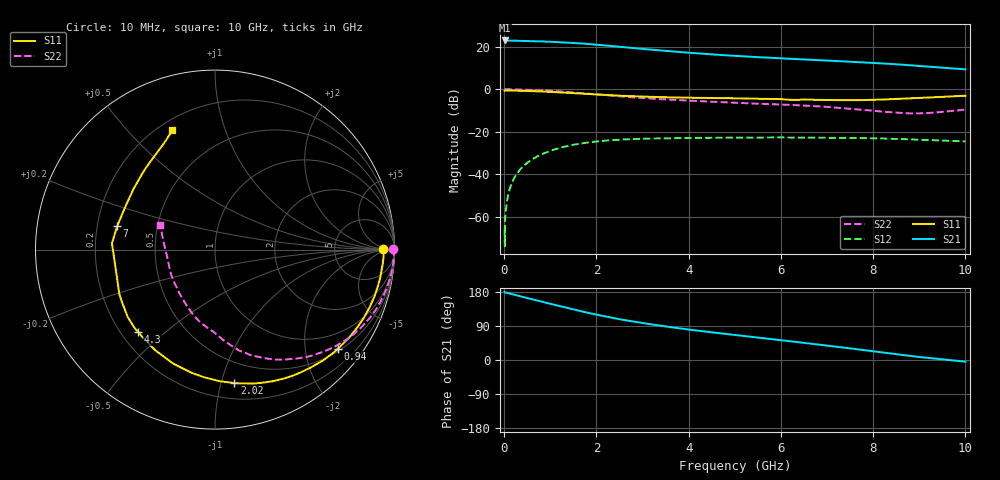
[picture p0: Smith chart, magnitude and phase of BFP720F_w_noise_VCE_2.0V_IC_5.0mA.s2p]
! Infineon Technologies  Discrete & RF Semiconductors
! BFP720F
! VCE =  2.0 V,  IC =  5.0 mA
! Common Emitter S-Parameters:  Jan 2016
# GHz  S  MA  R  50
!  f  S11  S21  S12  S22
! GHz  MAG  ANG  MAG  ANG  MAG  ANG  MAG  ANG
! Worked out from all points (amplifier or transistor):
!   233 points, 10 MHz to 10 GHz, reference 50 ohm
!   highest |S21| = 23.0 dB at 10 MHz (marker M1)
!   |S21| within 3 dB of that: start of sweep to 2.509 GHz
!   unconditionally stable (mu >= 1): 7.923 GHz to end of sweep
!   at 200 MHz: K = 0.03, MSG = 32.8 dB, |S12| = -42.6 dB
!   at 1.74 GHz: K = 0.21, MSG = 23.4 dB, |S12| = -25.3 dB
!   at 10 GHz: K = 1.27, MAG = 13.9 dB, |S12| = -24.6 dB
!   lowest NFmin = 0.41 dB at 450 MHz
!   S11 on the Smith chart (normalised r, x): 10 MHz: 29, +1; 940 MHz: 0.56, -2.72; 2.02 GHz: 0.32, -1.10; 4.3 GHz: 0.27, -0.41; 7 GHz: 0.29, +0.11; 10 GHz: 0.25, +0.67
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0.01  0.9342 0.1  14.21 179.6  0.0005 -52.0  0.9892 0.1
0.015  0.9368 -0.3  14.1 178.7  0.0002 66.9  0.9945 -0.5
0.02  0.9395 -0.7  13.99 177.8  0.0008 100.1  1 -1.1
0.06  0.9399 -2.5  14.14 177.6  0.0022 89.0  0.9971 -1.8
0.22  0.9342 -9.0  14.01 172.2  0.0082 84.5  0.9936 -6.2
0.6  0.9118 -24.8  13.67 160.5  0.022 74.4  0.9681 -17.0
0.94  0.8793 -39.0  13.34 150.1  0.0335 65.3  0.9305 -26.4
1.3  0.8383 -53.8  12.74 139.4  0.0442 56.0  0.8771 -36.1
1.68  0.7902 -69.4  12.07 128.4  0.0533 46.8  0.8114 -45.9
2.02  0.751 -81.8  11.27 119.2  0.0594 39.4  0.754 -53.7
2.4  0.7159 -94.2  10.32 110.0  0.0641 31.9  0.6963 -61.6
2.7  0.6925 -102.7  9.62 103.4  0.0665 26.9  0.656 -66.5
3  0.6755 -110.5  8.999 97.3  0.0685 22.7  0.6234 -71.0
3.4  0.6552 -118.6  8.24 90.3  0.07 17.8  0.5864 -75.4
4  0.6344 -129.1  7.299 80.3  0.0715 11.6  0.5405 -80.7
4.3  0.6277 -133.2  6.91 76.1  0.0719 9.1  0.5226 -82.7
5.1  0.6109 -143.5  6.076 64.7  0.0728 2.8  0.4784 -88.2
6.8  0.5642 170.6  4.89 40.9  0.0727 -8.8  0.3967 -105.0
7  0.5603 166.6  4.779 37.9  0.0725 -10.1  0.3854 -107.9
8.4  0.5861 133.8  3.961 16.9  0.0684 -19.1  0.2873 -145.0
9  0.6272 121.4  3.559 7.9  0.0648 -22.0  0.2701 -172.9
10  0.706 109.6  2.952 -4.3  0.0591 -24.2  0.3332 156.0
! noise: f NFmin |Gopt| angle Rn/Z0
0.45  0.41  0.49  4  0.15
0.9  0.44  0.48  9  0.17
1.8  0.5  0.44  20  0.17
2.4  0.54  0.41  29  0.14
5.5  0.72  0.37  68  0.1
10  1  0.25  -109  0.15
